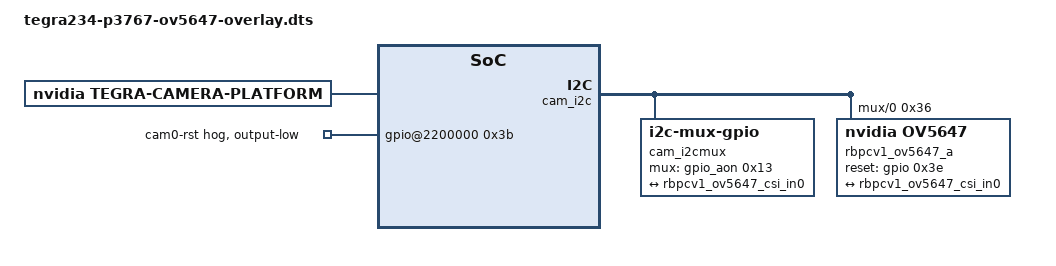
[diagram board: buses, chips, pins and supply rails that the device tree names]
/dts-v1/;
/plugin/;

/*
 * SPDX-License-Identifier: GPL-2.0
 *
 * Copyright (C) 2026 Artur Andrzejczak <andrzejczak.artur@gmail.com>
 * Copyright (c) 2022-2023, NVIDIA CORPORATION & AFFILIATES
 *
 * The camera-graph skeleton (tegra-capture-vi port, NVCSI channel,
 * cam_i2cmux, gpio hog, lane polarity) is taken from NVIDIA's
 * tegra234-p3767-camera-p3768-imx219-A overlay (GPL-2.0). The OV5647
 * sensor node is this project's; its timing values derive from the
 * mainline ov5647.c mode definitions.
 *
 * Device-tree overlay: OV5647 (Raspberry Pi Camera v1) on Jetson Orin
 * Nano / Orin NX Developer Kit (P3767 module + P3768 carrier), JetPack
 * 7. Camera in the CAM0 22-pin connector, via a 15-pin to 22-pin
 * adapter ribbon.
 *
 * Unlike Nano/Xavier, the JetPack 7 base DTB has the VI and NVCSI
 * blocks but no camera graph on them: no ports, no channels, no
 * sensor, no i2c mux, no tegra-camera-platform. This overlay supplies
 * all of that, extending the three existing nodes by path
 * (tegra-capture-vi, the NVCSI controller, the main GPIO node) and
 * taking three phandle references: &gpio (sensor PWDN), &gpio_aon and
 * &cam_i2c (i2c mux).
 *
 * CAM0 on this carrier is CSI serial_b / port-index 1 with swapped lane
 * polarity (lane_polarity = "6"), both taken from NVIDIA's overlay for
 * this connector rather than measured, since no camera has been on this
 * board yet. Carry them into any mode added here.
 */

/ {
	overlay-name = "Camera OV5647 (Pi Camera v1)";
	jetson-header-name = "Jetson 22pin CSI Connector";
	compatible = "nvidia,p3768-0000+p3767-0000",
		     "nvidia,p3768-0000+p3767-0001",
		     "nvidia,p3768-0000+p3767-0003",
		     "nvidia,p3768-0000+p3767-0004",
		     "nvidia,p3768-0000+p3767-0005",
		     "nvidia,p3768-0000+p3767-0000-super",
		     "nvidia,p3768-0000+p3767-0001-super",
		     "nvidia,p3768-0000+p3767-0003-super",
		     "nvidia,p3768-0000+p3767-0004-super",
		     "nvidia,p3768-0000+p3767-0005-super";

	fragment@0 {
		target-path = "/";
		__overlay__ {

			tegra-capture-vi {
				num-channels = <1>;
				ports {
					#address-cells = <1>;
					#size-cells = <0>;

					port@0 {
						reg = <0>;
						rbpcv1_ov5647_vi_in0: endpoint {
							port-index = <1>;
							bus-width = <2>;
							remote-endpoint =
								<&rbpcv1_ov5647_csi_out0>;
						};
					};
				};
			};

			tegra-camera-platform {
				compatible = "nvidia, tegra-camera-platform";

				modules {
					module0 {
						badge = "jakku_front_RBPCV1";
						position = "front";
						orientation = "1";

						drivernode0 {
							pcl_id = "v4l2_sensor";
							sysfs-device-tree =
								"/sys/firmware/devicetree/base/bus@0/cam_i2cmux/i2c@0/rbpcv1_ov5647_a@36";
						};
						drivernode1 {
							pcl_id = "v4l2_lens";
							sysfs-device-tree =
								"/sys/firmware/devicetree/base/bus@0/lens_ov5647@RBPCV1";
						};
					};
				};
			};

			bus@0 {

				host1x@13e00000 {

					nvcsi@15a00000 {
						num-channels = <1>;
						#address-cells = <1>;
						#size-cells = <0>;

						channel@0 {
							reg = <0>;
							ports {
								#address-cells = <1>;
								#size-cells = <0>;

								port@0 {
									reg = <0>;
									rbpcv1_ov5647_csi_in0: endpoint@0 {
										port-index = <1>;
										bus-width = <2>;
										remote-endpoint =
											<&rbpcv1_ov5647_out0>;
									};
								};
								port@1 {
									reg = <1>;
									rbpcv1_ov5647_csi_out0: endpoint@1 {
										remote-endpoint =
											<&rbpcv1_ov5647_vi_in0>;
									};
								};
							};
						};
					};
				};

				cam_i2cmux {
					status = "okay";
					compatible = "i2c-mux-gpio";
					#address-cells = <1>;
					#size-cells = <0>;
					mux-gpios = <&gpio_aon 0x13 0>;
					i2c-parent = <&cam_i2c>;

					i2c@0 {
						status = "okay";
						reg = <0>;
						#address-cells = <1>;
						#size-cells = <0>;

						rbpcv1_ov5647_a@36 {
							compatible = "nvidia,ov5647";
							reg = <0x36>;

							devnode = "video0";

							/* pixel array: 2592 x 1944 at 1.4 um */
							physical_w = "3.629";
							physical_h = "2.722";

							sensor_model = "ov5647";
							use_sensor_mode_id = "true";

							/* CAM0_PWDN, same pin the stock
							 * IMX219 uses */
							reset-gpios = <&gpio 0x3e 0>;

							mode0 { /* OV5647_MODE_2592x1944_15FPS */
								mclk_khz = "25000";
								num_lanes = "2";
								tegra_sinterface = "serial_b";
								lane_polarity = "6";
								phy_mode = "DPHY";
								discontinuous_clk = "no";
								dpcm_enable = "false";
								cil_settletime = "0";

								active_w = "2592";
								active_h = "1944";
								mode_type = "bayer";
								pixel_phase = "bggr";
								csi_pixel_bit_depth = "10";
								readout_orientation = "0";
								line_length = "2844";
								inherent_gain = "1";
								mclk_multiplier = "3.50";
								pix_clk_hz = "87500000";

								gain_factor = "16";
								framerate_factor = "1000000";
								exposure_factor = "1000000";
								min_gain_val = "16";
								max_gain_val = "1023";
								step_gain_val = "1";
								default_gain = "16";
								min_hdr_ratio = "1";
								max_hdr_ratio = "1";
								min_framerate = "2000000";
								max_framerate = "15000000";
								step_framerate = "1";
								default_framerate = "15000000";
								min_exp_time = "131";
								max_exp_time = "500000";
								step_exp_time = "1";
								default_exp_time = "16666";

								embedded_metadata_height = "0";
							};
							mode1 { /* OV5647_MODE_1920x1080_30FPS */
								mclk_khz = "25000";
								num_lanes = "2";
								tegra_sinterface = "serial_b";
								lane_polarity = "6";
								phy_mode = "DPHY";
								discontinuous_clk = "no";
								dpcm_enable = "false";
								cil_settletime = "0";

								active_w = "1920";
								active_h = "1080";
								mode_type = "bayer";
								pixel_phase = "bggr";
								csi_pixel_bit_depth = "10";
								readout_orientation = "0";
								line_length = "2416";
								inherent_gain = "1";
								mclk_multiplier = "3.27";
								pix_clk_hz = "81666700";

								gain_factor = "16";
								framerate_factor = "1000000";
								exposure_factor = "1000000";
								min_gain_val = "16";
								max_gain_val = "1023";
								step_gain_val = "1";
								default_gain = "16";
								min_hdr_ratio = "1";
								max_hdr_ratio = "1";
								min_framerate = "2000000";
								max_framerate = "30000000";
								step_framerate = "1";
								default_framerate = "30000000";
								min_exp_time = "119";
								max_exp_time = "500000";
								step_exp_time = "1";
								default_exp_time = "16666";

								embedded_metadata_height = "0";
							};
							mode2 { /* OV5647_MODE_1296x972_30FPS */
								mclk_khz = "25000";
								num_lanes = "2";
								tegra_sinterface = "serial_b";
								lane_polarity = "6";
								phy_mode = "DPHY";
								discontinuous_clk = "no";
								dpcm_enable = "false";
								cil_settletime = "0";

								active_w = "1296";
								active_h = "972";
								mode_type = "bayer";
								pixel_phase = "bggr";
								csi_pixel_bit_depth = "10";
								readout_orientation = "0";
								line_length = "1896";
								inherent_gain = "1";
								mclk_multiplier = "3.27";
								pix_clk_hz = "81666700";

								gain_factor = "16";
								framerate_factor = "1000000";
								exposure_factor = "1000000";
								min_gain_val = "16";
								max_gain_val = "1023";
								step_gain_val = "1";
								default_gain = "16";
								min_hdr_ratio = "1";
								max_hdr_ratio = "1";
								min_framerate = "2000000";
								max_framerate = "30000000";
								step_framerate = "1";
								default_framerate = "30000000";
								min_exp_time = "93";
								max_exp_time = "500000";
								step_exp_time = "1";
								default_exp_time = "16666";

								embedded_metadata_height = "0";
							};
							mode3 { /* OV5647_MODE_640x480_62FPS */
								mclk_khz = "25000";
								num_lanes = "2";
								tegra_sinterface = "serial_b";
								lane_polarity = "6";
								phy_mode = "DPHY";
								discontinuous_clk = "no";
								dpcm_enable = "false";
								cil_settletime = "0";

								active_w = "640";
								active_h = "480";
								mode_type = "bayer";
								pixel_phase = "bggr";
								csi_pixel_bit_depth = "10";
								readout_orientation = "0";
								line_length = "1852";
								inherent_gain = "1";
								mclk_multiplier = "2.33";
								pix_clk_hz = "58333300";

								gain_factor = "16";
								framerate_factor = "1000000";
								exposure_factor = "1000000";
								min_gain_val = "16";
								max_gain_val = "1023";
								step_gain_val = "1";
								default_gain = "16";
								min_hdr_ratio = "1";
								max_hdr_ratio = "1";
								min_framerate = "2000000";
								max_framerate = "62000000";
								step_framerate = "1";
								default_framerate = "62000000";
								min_exp_time = "127";
								max_exp_time = "500000";
								step_exp_time = "1";
								default_exp_time = "16666";

								embedded_metadata_height = "0";
							};

							ports {
								#address-cells = <1>;
								#size-cells = <0>;

								port@0 {
									reg = <0>;
									rbpcv1_ov5647_out0: endpoint {
										port-index = <1>;
										bus-width = <2>;
										remote-endpoint =
											<&rbpcv1_ov5647_csi_in0>;
									};
								};
							};
						};
					};
				};

				/* fixed-focus Pi Camera v1 lens, queried by Argus */
				lens_ov5647@RBPCV1 {
					min_focus_distance = "0.0";
					hyper_focal = "0.0";
					focal_length = "3.60";
					f_number = "2.9";
					aperture = "0.0";
				};

				/* cam0-rst hog as in NVIDIA's IMX219-A overlay.
				 * That overlay also hogs the pwdn pins on a
				 * gpio@6000d000 node, a tegra210-era address
				 * with no counterpart on tegra234; the dead
				 * node is omitted here. */
				gpio@2200000 {
					camera-control-output-low {
						gpio-hog;
						output-low;
						gpios = <0x3b 0>;
						label = "cam0-rst";
					};
				};
			};
		};
	};
};
